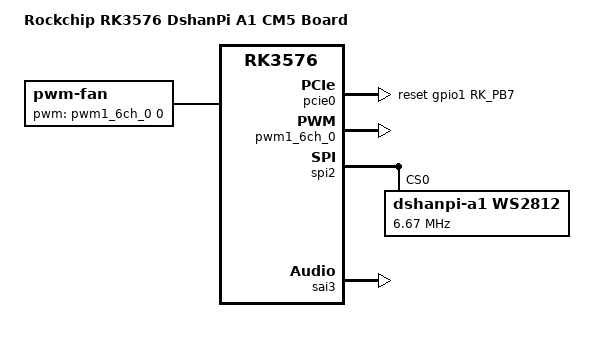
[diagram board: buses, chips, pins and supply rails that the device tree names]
// SPDX-License-Identifier: (GPL-2.0+ OR MIT)
/*
 * Copyright (c) 2024 Rockchip Electronics Co., Ltd.
 *
 */

/dts-v1/;

#include "rk3576.dtsi"
#include "rk3576-100ask-a1-cm5-common.dtsi"

//#include "rk3576-100ask-480-800-mipi.dtsi"
//#include "rk3576-100ask-imx415-csi3.dtsi"
//#include "rk3576-100ask-ov13850-csi3.dtsi"
#include "rk3576-100ask-a1-cm5-ov13850-3cam.dtsi"
//#include "rk3576-100ask-rk628d.dtsi"
//#include "rk3576-100ask-480-360-mipi.dtsi"
#include "rk3576-100ask-a1-cm5-1024-768-mipi.dtsi"
#include "rk3576-100ask-a1-cm5-base-v1.dtsi"

/ {
	model = "Rockchip RK3576 DshanPi A1 CM5 Board";
	compatible = "dshanpi,dshanpi-a1-cm5", "rockchip,rk3576";

	/* Armbian supplies the root filesystem and console arguments at boot. */
	chosen {
		/delete-property/ bootargs;
	};

	fan: pwm-fan {
		status = "okay";
		compatible = "pwm-fan";
		#cooling-cells = <2>;
		pwms = <&pwm1_6ch_0 0 50000 1>;

		cooling-levels = <0 100 125 150 200 255>;

		rockchip,temp-trips = <
			40000    1
			50000    2
			60000    3
			65000    4
			70000    5
		>;
	};

        bt_sco: bt-sco {
                status = "okay";
                compatible = "delta,dfbmcs320";
                #sound-dai-cells = <1>;
        };

        bt_sound: bt-sound {
                status = "okay";
                compatible = "simple-audio-card";
                simple-audio-card,format = "dsp_a";
                simple-audio-card,bitclock-inversion;
                simple-audio-card,mclk-fs = <256>;
                simple-audio-card,name = "rockchip,bt";
                simple-audio-card,cpu {
                        sound-dai = <&sai3>;
                };
                simple-audio-card,codec {
                        sound-dai = <&bt_sco 1>;
                };
        };
};

/******* RTL8852CE *******/
&pcie0 {
        reset-gpios = <&gpio1 RK_PB7 GPIO_ACTIVE_HIGH>;

        status = "okay";
};

/******* pwm-fan *******/
&pwm1_6ch_0 {
	status = "okay";
	pinctrl-0 = <&pwm1m0_ch0>;
};

/* ws2812  */
&spi2 {
	pinctrl-names = "default";
	pinctrl-0 = <&spi2m1_csn0 &spi2m1_pins>;
	status = "okay";

	ws2812: ws2812@0 {
		compatible = "dshanpi-a1,ws2812";
		spi-max-frequency = <6670000>;
		leds,number = <15>;
		reg = <0>;
		status = "okay";
	};
};

&sai3 {
	pinctrl-0 = <&sai3m2_lrck
		     &sai3m2_sclk
		     &sai3m2_sdi
		     &sai3m2_sdo>;
	pinctrl-names = "default";
	status = "okay";
};
